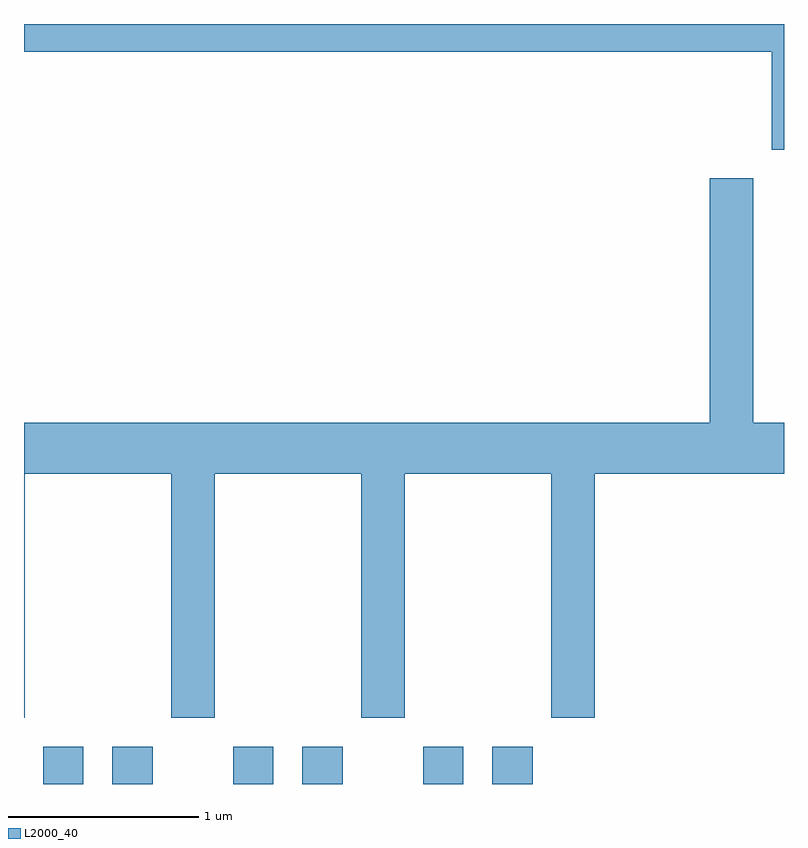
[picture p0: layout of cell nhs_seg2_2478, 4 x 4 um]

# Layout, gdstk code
import gdstk
lib = gdstk.Library(unit=1e-6, precision=1e-09)
def R(c, l, rs):  # rectangles x0, y0, x1, y1
    for r in rs: c.add(gdstk.rectangle(r[:2], r[2:], *l))
def P(c, l, *ps):  # polygons
    for p in ps: c.add(gdstk.Polygon(p, *l))
L2000_40 = (2000, 40)

nhs_seg2_2478 = lib.new_cell('nhs_seg2_2478')
R(nhs_seg2_2478, L2000_40, [(257.711,1037.802,257.924,1037.999), (258.076,1037.802,258.289,1037.999), (258.711,1037.802,258.924,1037.999), (259.076,1037.802,259.289,1037.999), (259.711,1037.802,259.924,1037.999), (260.076,1037.802,260.289,1037.999)])
P(nhs_seg2_2478, L2000_40, [(257.611,1041.656),(261.546,1041.656),(261.546,1041.141),(261.611,1041.141),(261.611,1041.802),(257.611,1041.802)],
  [(257.614,1039.436),(258.386,1039.436),(258.386,1038.151),(258.614,1038.151),(258.614,1039.436),(259.386,1039.436),(259.386,1038.151),(259.614,1038.151),(259.614,1039.436),(260.386,1039.436),(260.386,1038.151),(260.614,1038.151),(260.614,1039.436),(261.611,1039.436),(261.611,1039.704),(261.449,1039.704),(261.449,1040.989),(261.221,1040.989),(261.221,1039.704),(257.611,1039.704),(257.611,1038.151),(257.614,1038.151)])

lib.write_gds('nhs_seg2_2478.gds')
